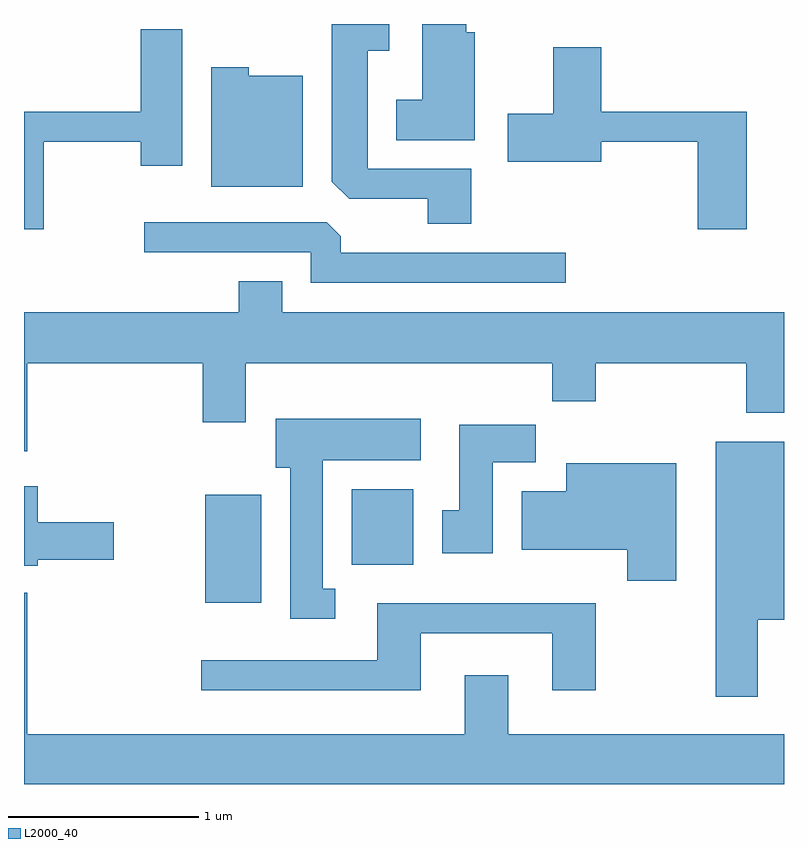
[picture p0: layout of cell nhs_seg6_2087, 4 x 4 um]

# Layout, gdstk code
import gdstk
lib = gdstk.Library(unit=1e-6, precision=1e-09)
def R(c, l, rs):  # rectangles x0, y0, x1, y1
    for r in rs: c.add(gdstk.rectangle(r[:2], r[2:], *l))
def P(c, l, *ps):  # polygons
    for p in ps: c.add(gdstk.Polygon(p, *l))
L2000_40 = (2000, 40)

nhs_seg6_2087 = lib.new_cell('nhs_seg6_2087')
R(nhs_seg6_2087, L2000_40, [(248.566,1653.116,248.859,1653.684), (249.336,1653.316,249.659,1653.714)])
P(nhs_seg6_2087, L2000_40, [(249.964,1655.399),(249.419,1655.399),(249.419,1656.021),(249.534,1656.021),(249.534,1656.162),(249.231,1656.162),(249.231,1655.332),(249.322,1655.241),(249.736,1655.241),(249.736,1655.111),(249.964,1655.111)],
  [(249.984,1656.119),(249.939,1656.119),(249.939,1656.162),(249.706,1656.162),(249.706,1655.764),(249.571,1655.764),(249.571,1655.551),(249.984,1655.551)],
  [(247.714,1655.541),(248.226,1655.541),(248.226,1655.416),(248.444,1655.416),(248.444,1656.134),(248.226,1656.134),(248.226,1655.699),(247.611,1655.699),(247.611,1655.081),(247.714,1655.081)],
  [(251.414,1655.699),(250.649,1655.699),(250.649,1656.039),(250.396,1656.039),(250.396,1655.689),(250.156,1655.689),(250.156,1655.436),(250.649,1655.436),(250.649,1655.541),(251.156,1655.541),(251.156,1655.081),(251.414,1655.081)],
  [(249.079,1655.889),(248.794,1655.889),(248.794,1655.934),(248.596,1655.934),(248.596,1655.306),(249.079,1655.306)],
  [(250.463,1654.959),(249.279,1654.959),(249.279,1655.044),(249.204,1655.119),(248.243,1655.119),(248.243,1654.961),(249.121,1654.961),(249.121,1654.801),(250.463,1654.801)],
  [(247.629,1654.376),(248.551,1654.376),(248.551,1654.066),(248.779,1654.066),(248.779,1654.376),(250.391,1654.376),(250.391,1654.176),(250.619,1654.176),(250.619,1654.376),(251.411,1654.376),(251.411,1654.116),(251.611,1654.116),(251.611,1654.644),(248.969,1654.644),(248.969,1654.809),(248.741,1654.809),(248.741,1654.644),(247.611,1654.644),(247.611,1653.913),(247.629,1653.913)],
  [(249.248,1653.189),(249.184,1653.189),(249.184,1653.866),(249.699,1653.866),(249.699,1654.084),(248.936,1654.084),(248.936,1653.826),(249.011,1653.826),(249.011,1653.031),(249.248,1653.031)],
  [(250.079,1653.856),(250.304,1653.856),(250.304,1654.054),(249.901,1654.054),(249.901,1653.604),(249.811,1653.604),(249.811,1653.376),(250.079,1653.376)],
  [(251.474,1653.026),(251.611,1653.026),(251.611,1653.964),(251.251,1653.964),(251.251,1652.621),(251.474,1652.621)],
  [(251.044,1653.849),(250.466,1653.849),(250.466,1653.704),(250.231,1653.704),(250.231,1653.396),(250.786,1653.396),(250.786,1653.231),(251.044,1653.231)],
  [(247.684,1653.341),(248.084,1653.341),(248.084,1653.539),(247.684,1653.539),(247.684,1653.729),(247.611,1653.729),(247.611,1653.311),(247.684,1653.311)],
  [(247.629,1653.168),(247.611,1653.168),(247.611,1652.162),(251.611,1652.162),(251.611,1652.424),(250.159,1652.424),(250.159,1652.734),(249.931,1652.734),(249.931,1652.424),(247.629,1652.424)],
  [(249.699,1652.956),(250.391,1652.956),(250.391,1652.656),(250.619,1652.656),(250.619,1653.114),(249.471,1653.114),(249.471,1652.814),(248.543,1652.814),(248.543,1652.656),(249.699,1652.656)])

lib.write_gds('nhs_seg6_2087.gds')
